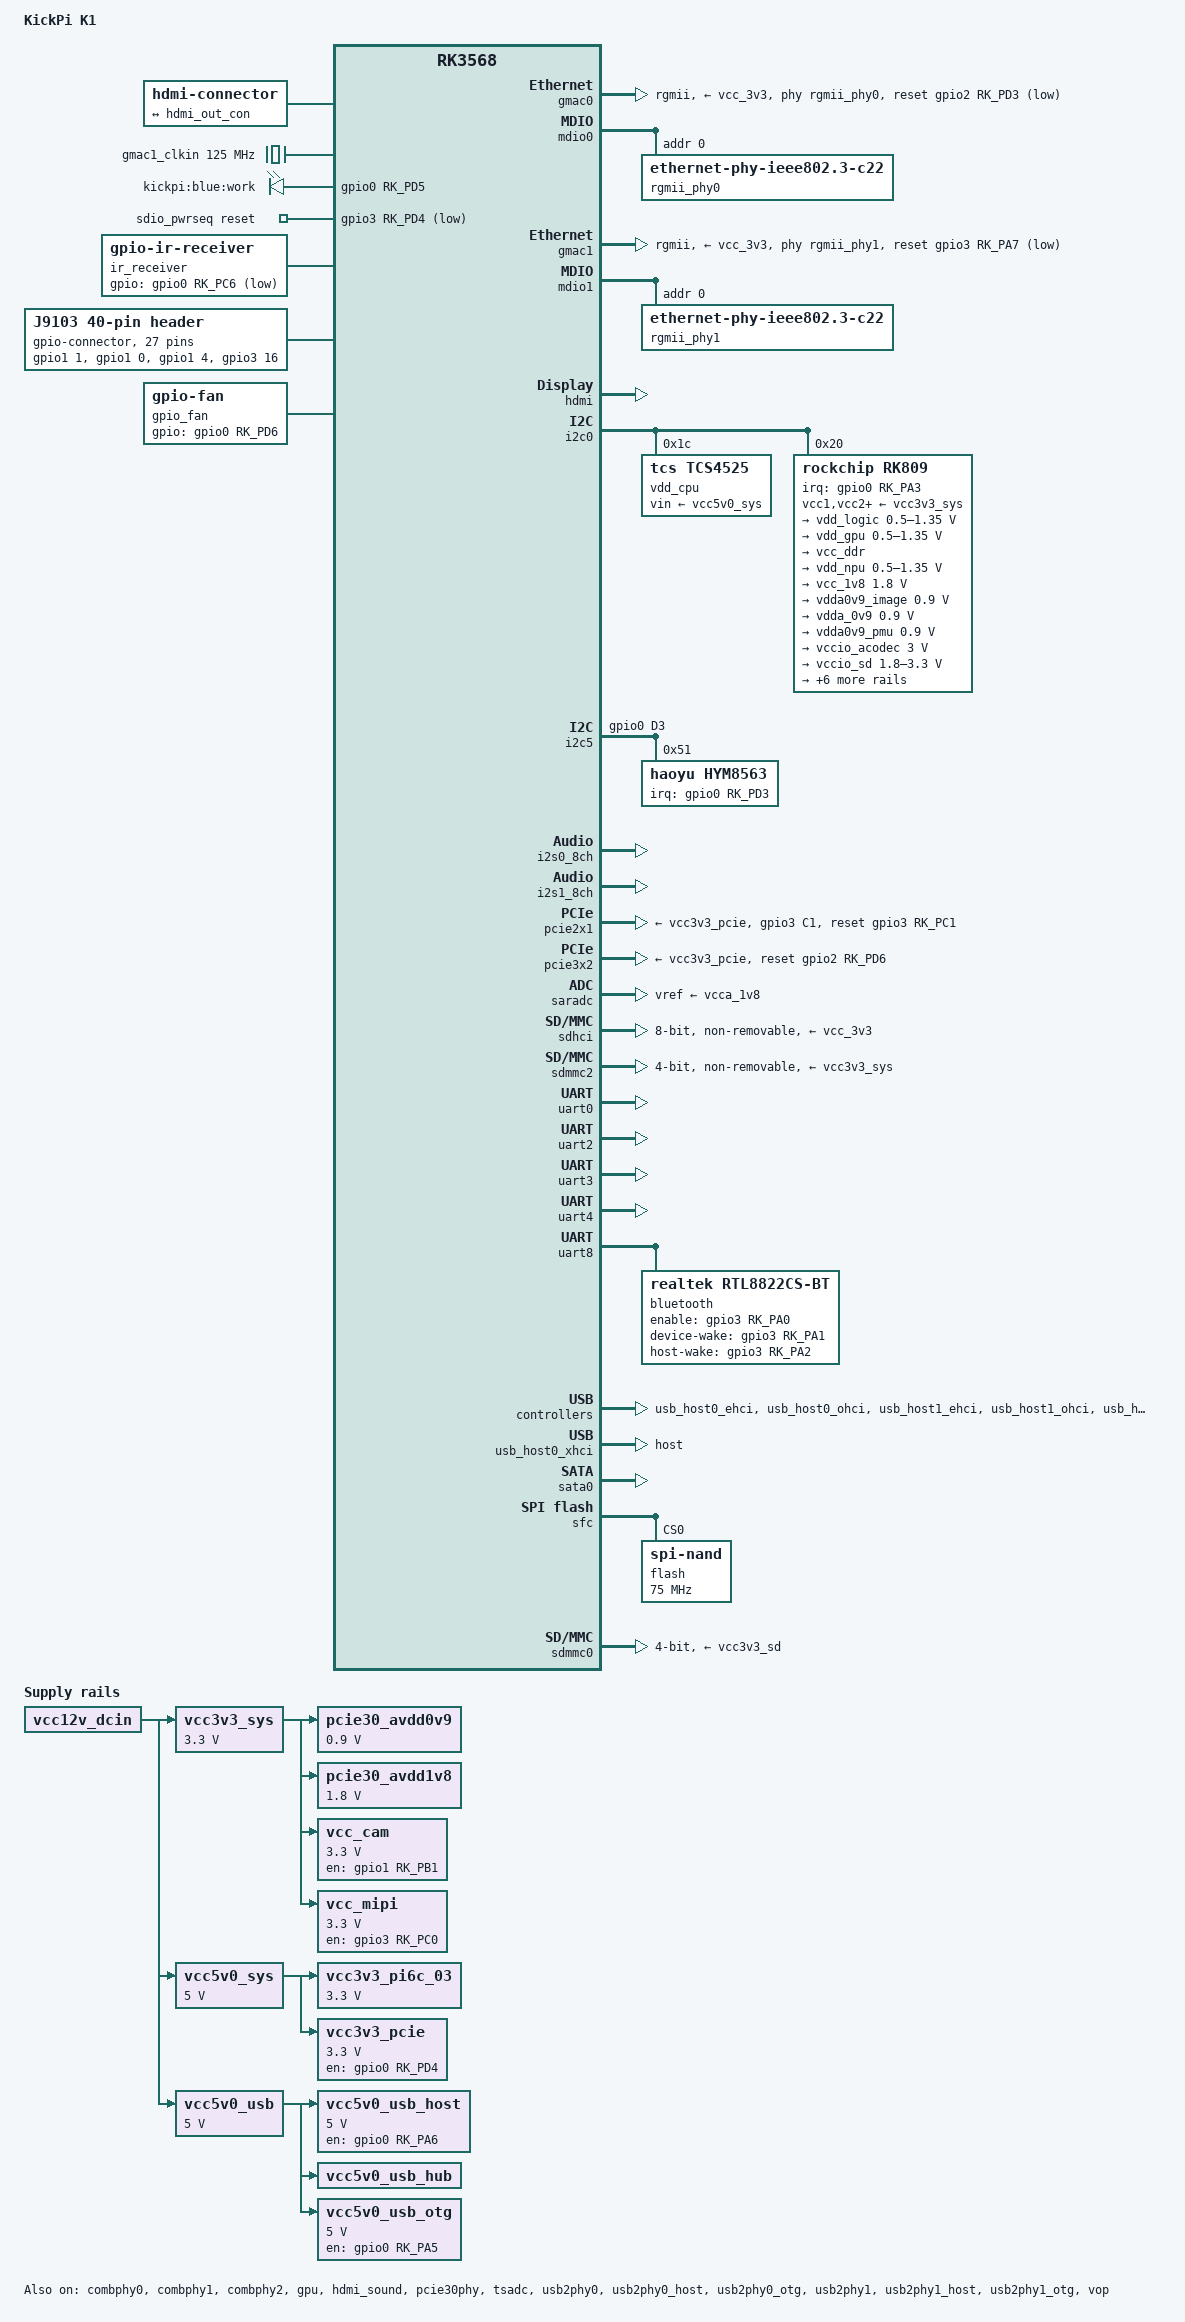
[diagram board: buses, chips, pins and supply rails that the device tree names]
// SPDX-License-Identifier: (GPL-2.0+ OR MIT)

/dts-v1/;
#include <dt-bindings/gpio/gpio.h>
#include <dt-bindings/leds/common.h>
#include <dt-bindings/pinctrl/rockchip.h>
#include <dt-bindings/soc/rockchip,vop2.h>
#include "rk3568.dtsi"

/ {
	model = "KickPi K1";
	compatible = "kickpi,k1", "rockchip,rk3568";

	aliases {
		ethernet0 = &gmac0;
		ethernet1 = &gmac1;
		mmc0 = &sdhci; //emmc
		mmc1 = &sdmmc0; //microsd
		mmc2 = &sdmmc2; //wifi sdio
		serial0 = &uart0;
		serial1 = &uart1;
		serial2 = &uart2;
		serial3 = &uart3;
		serial4 = &uart4;
		serial5 = &uart5;
		serial6 = &uart6;
		serial7 = &uart7;
		serial8 = &uart8;
		serial9 = &uart9;
	};

	chosen: chosen {
		stdout-path = "serial2:1500000n8";
	};

	hdmi-con {
		compatible = "hdmi-connector";
		type = "a";

		port {
			hdmi_con_in: endpoint {
				remote-endpoint = <&hdmi_out_con>;
			};
		};
	};

	gmac1_clkin: external-gmac1-clock {
		compatible = "fixed-clock";
		clock-frequency = <125000000>;
		clock-output-names = "gmac1_clkin";
		#clock-cells = <0>;
	};

	leds {
		compatible = "gpio-leds";
		work_led:
			work-led {
				label = "kickpi:blue:work";
				gpios = <&gpio0 RK_PD5 GPIO_ACTIVE_HIGH>;
				default-state = "off";
				linux,default-trigger = "heartbeat"; 
		};
	};

	rk809-sound {
		compatible = "simple-audio-card";
		simple-audio-card,format = "i2s";
		simple-audio-card,name = "Analog RK809";
		simple-audio-card,mclk-fs = <256>;

		simple-audio-card,cpu {
			sound-dai = <&i2s1_8ch>;
		};

		simple-audio-card,codec {
			sound-dai = <&rk809>;
		};
	};

	sdio_pwrseq: sdio-pwrseq {
		compatible = "mmc-pwrseq-simple";
		clocks = <&rk809 1>;
		clock-names = "ext_clock";
		pinctrl-names = "default";
		pinctrl-0 = <&wifi_enable>;
		post-power-on-delay-ms = <100>;
		power-off-delay-us = <5000000>;
		reset-gpios = <&gpio3 RK_PD4 GPIO_ACTIVE_LOW>;
	};

	vcc12v_dcin: regulator-vcc12v-dcin {
		compatible = "regulator-fixed";
		regulator-name = "vcc12v_dcin";
		regulator-always-on;
		regulator-boot-on;
	};

	pcie30_avdd0v9: regulator-pcie30-avdd0v9 {
		compatible = "regulator-fixed";
		regulator-name = "pcie30_avdd0v9";
		regulator-always-on;
		regulator-boot-on;
		regulator-min-microvolt = <900000>;
		regulator-max-microvolt = <900000>;
		vin-supply = <&vcc3v3_sys>;
	};

	pcie30_avdd1v8: regulator-pcie30-avdd1v8 {
		compatible = "regulator-fixed";
		regulator-name = "pcie30_avdd1v8";
		regulator-always-on;
		regulator-boot-on;
		regulator-min-microvolt = <1800000>;
		regulator-max-microvolt = <1800000>;
		vin-supply = <&vcc3v3_sys>;
	};

	/* pi6c pcie clock generator */
	vcc3v3_pi6c_03: regulator-vcc3v3-pi6c-03 {
		compatible = "regulator-fixed";
		regulator-name = "vcc3v3_pi6c_03";
		regulator-always-on;
		regulator-boot-on;
		regulator-min-microvolt = <3300000>;
		regulator-max-microvolt = <3300000>;
		vin-supply = <&vcc5v0_sys>;
	};

	vcc3v3_pcie: regulator-vcc3v3-pcie {
		compatible = "regulator-fixed";
		enable-active-high;
		gpios = <&gpio0 RK_PD4 GPIO_ACTIVE_HIGH>;
		pinctrl-names = "default";
		pinctrl-0 = <&pcie_enable_h>;
		regulator-name = "vcc3v3_pcie";
		regulator-min-microvolt = <3300000>;
		regulator-max-microvolt = <3300000>;
		vin-supply = <&vcc5v0_sys>;
	};

	vcc3v3_sys: regulator-vcc3v3-sys {
		compatible = "regulator-fixed";
		regulator-name = "vcc3v3_sys";
		regulator-always-on;
		regulator-boot-on;
		regulator-min-microvolt = <3300000>;
		regulator-max-microvolt = <3300000>;
		vin-supply = <&vcc12v_dcin>;
	};

	vcc5v0_sys: regulator-vcc5v0-sys {
		compatible = "regulator-fixed";
		regulator-name = "vcc5v0_sys";
		regulator-always-on;
		regulator-boot-on;
		regulator-min-microvolt = <5000000>;
		regulator-max-microvolt = <5000000>;
		vin-supply = <&vcc12v_dcin>;
	};

	vcc5v0_usb: regulator-vcc5v0-usb {
		compatible = "regulator-fixed";
		regulator-name = "vcc5v0_usb";
		regulator-always-on;
		regulator-boot-on;
		regulator-min-microvolt = <5000000>;
		regulator-max-microvolt = <5000000>;
		vin-supply = <&vcc12v_dcin>;
	};

	vcc5v0_usb_host: regulator-vcc5v0-usb-host {
		compatible = "regulator-fixed";
		enable-active-high;
		gpio = <&gpio0 RK_PA6 GPIO_ACTIVE_HIGH>;
		pinctrl-names = "default";
		pinctrl-0 = <&vcc5v0_usb_host_en>;
		regulator-name = "vcc5v0_usb_host";
		regulator-min-microvolt = <5000000>;
		regulator-max-microvolt = <5000000>;
		vin-supply = <&vcc5v0_usb>;
	};

	vcc5v0_usb_hub: regulator-vcc5v0-usb-hub {
		compatible = "regulator-fixed";
		// enable-active-high;
		// gpio = <&gpio0 RK_PD5 GPIO_ACTIVE_HIGH>;
		// pinctrl-names = "default";
		// pinctrl-0 = <&vcc5v0_usb_hub_en>;
		regulator-name = "vcc5v0_usb_hub";
		regulator-always-on;
		regulator-boot-on;
		vin-supply = <&vcc5v0_usb>;
	};

	vcc5v0_usb_otg: regulator-vcc5v0-usb-otg {
		compatible = "regulator-fixed";
		enable-active-high;
		gpio = <&gpio0 RK_PA5 GPIO_ACTIVE_HIGH>;
		pinctrl-names = "default";
		pinctrl-0 = <&vcc5v0_usb_otg_en>;
		regulator-name = "vcc5v0_usb_otg";
		regulator-min-microvolt = <5000000>;
		regulator-max-microvolt = <5000000>;
		vin-supply = <&vcc5v0_usb>;
	};

	vcc_cam: regulator-vcc-cam {
		compatible = "regulator-fixed";
		enable-active-high;
		gpio = <&gpio1 RK_PB1 GPIO_ACTIVE_HIGH>;
		pinctrl-names = "default";
		pinctrl-0 = <&vcc_cam_en>;
		regulator-name = "vcc_cam";
		regulator-min-microvolt = <3300000>;
		regulator-max-microvolt = <3300000>;
		vin-supply = <&vcc3v3_sys>;

		regulator-state-mem {
			regulator-off-in-suspend;
		};
	};

	vcc_mipi: regulator-vcc-mipi {
		compatible = "regulator-fixed";
		enable-active-high;
		gpio = <&gpio3 RK_PC0 GPIO_ACTIVE_HIGH>;
		pinctrl-names = "default";
		pinctrl-0 = <&vcc_mipi_en>;
		regulator-name = "vcc_mipi";
		regulator-min-microvolt = <3300000>;
		regulator-max-microvolt = <3300000>;
		vin-supply = <&vcc3v3_sys>;

		regulator-state-mem {
			regulator-off-in-suspend;
		};
	};

	ir_receiver: ir-receiver {
		compatible = "gpio-ir-receiver";
		gpios = <&gpio0 RK_PC6 GPIO_ACTIVE_LOW>;
		pinctrl-names = "default";
		pinctrl-0 = <&pwm7_ir>;
		// linux,autosuspend-delay-ms = <200>;
		status = "okay";
	};

	j9103: header-j9103 {
        compatible = "gpio-connector";
        label = "J9103 40-pin header";

        #gpio-cells = <2>;

        gpio-map = <
            /* pin 3  */ 3  &gpio1 1 0
            /* pin 5  */ 5  &gpio1 0 0
            /* pin 7  */ 7  &gpio1 4 0
            /* pin 8  */ 8  &gpio3 16 0
            /* pin 10 */ 10 &gpio3 15 0
            /* pin 11 */ 11 &gpio1 8 0
            /* pin 12 */ 12 &gpio0 18 0
            /* pin 13 */ 13 &gpio1 9 0
            /* pin 15 */ 15 &gpio1 10 0
            /* pin 16 */ 16 &gpio3 20 0
            /* pin 18 */ 18 &gpio3 21 0
            /* pin 19 */ 19 &gpio4 19 0
            /* pin 21 */ 21 &gpio4 21 0
            /* pin 22 */ 22 &gpio4 12 0
            /* pin 23 */ 23 &gpio4 18 0
            /* pin 24 */ 24 &gpio4 13 0
            /* pin 26 */ 26 &gpio0 16 0
            /* pin 27 */ 27 &gpio4 20 0
            /* pin 28 */ 28 &gpio0 17 0
            /* pin 29 */ 29 &gpio3 13 0
            /* pin 31 */ 31 &gpio3 9  0
            /* pin 32 */ 32 &gpio3 14 0
            /* pin 33 */ 33 &gpio3 10 0
            /* pin 35 */ 35 &gpio0 24 0   /* UART2 RX – debug */
            /* pin 36 */ 36 &gpio1 24 0
            /* pin 37 */ 37 &gpio0 25 0   /* UART2 TX – debug */
            /* pin 38 */ 38 &gpio1 28 0
        >;
    };

	gpio_fan: gpio-fan {
		compatible = "gpio-fan";
		gpios = <&gpio0 RK_PD6 GPIO_ACTIVE_HIGH>;
		gpio-fan,speed-map = <0    0>,
		                     <3000 1>;
		pinctrl-names = "default";
		pinctrl-0 = <&fan_en_h>;
		#cooling-cells = <2>;
	};

};

&combphy0 {
	status = "okay";
};

&combphy1 {
	status = "okay";
};

&combphy2 {
	status = "okay";
};

&cpu0 {
	cpu-supply = <&vdd_cpu>;
};

&cpu1 {
	cpu-supply = <&vdd_cpu>;
};

&cpu2 {
	cpu-supply = <&vdd_cpu>;
};

&cpu3 {
	cpu-supply = <&vdd_cpu>;
};

&gmac0 {
	phy-mode = "rgmii";
	clock_in_out = "output";
	local-mac-address = [00 00 00 00 00 00];
	snps,reset-gpio = <&gpio2 RK_PD3 GPIO_ACTIVE_LOW>;
	snps,reset-active-low;
	snps,reset-delays-us = <0 20000 100000>;

	assigned-clocks = <&cru SCLK_GMAC0_RX_TX>, <&cru SCLK_GMAC0>;
	assigned-clock-parents = <&cru SCLK_GMAC0_RGMII_SPEED>, <&cru CLK_MAC0_2TOP>;
	assigned-clock-rates = <0>, <125000000>;

	pinctrl-names = "default";
	pinctrl-0 = <&gmac0_miim
		     &gmac0_tx_bus2
		     &gmac0_rx_bus2
		     &gmac0_rgmii_clk
		     &gmac0_rgmii_bus>;

	tx_delay = <0x3c>;
	rx_delay = <0x2f>;
	phy-supply = <&vcc_3v3>;
	phy-handle = <&rgmii_phy0>;
	status = "okay";
};


&mdio0 {
	rgmii_phy0: phy@0 {
		compatible = "ethernet-phy-ieee802.3-c22";
		reg = <0x0>;
	};
};

&gmac1 {
	phy-mode = "rgmii";
	clock_in_out = "output";
	local-mac-address = [00 00 00 00 00 00];
	snps,reset-gpio = <&gpio3 RK_PA7 GPIO_ACTIVE_LOW>;
	snps,reset-active-low;
	snps,reset-delays-us = <0 20000 100000>;

	assigned-clocks = <&cru SCLK_GMAC1_RX_TX>, <&cru SCLK_GMAC1>;
	assigned-clock-parents = <&cru SCLK_GMAC1_RGMII_SPEED>, <&cru CLK_MAC1_2TOP>;
	assigned-clock-rates = <0>, <125000000>;

	pinctrl-names = "default";
	pinctrl-0 = <&gmac1m1_miim
		     &gmac1m1_tx_bus2
		     &gmac1m1_rx_bus2
		     &gmac1m1_rgmii_clk
		     &gmac1m1_rgmii_bus>;

	tx_delay = <0x4f>;
	rx_delay = <0x26>;
	phy-supply = <&vcc_3v3>;
	phy-handle = <&rgmii_phy1>;
	status = "okay";
};

&mdio1 {
	rgmii_phy1: phy@0 {
		compatible = "ethernet-phy-ieee802.3-c22";
		reg = <0x0>;
	};
};

&gpu {
	mali-supply = <&vdd_gpu>;
	status = "okay";
};

&hdmi {
	avdd-0v9-supply = <&vdda0v9_image>;
	avdd-1v8-supply = <&vcca1v8_image>;
	pinctrl-names = "default";
	pinctrl-0 = <&hdmitx_scl &hdmitx_sda &hdmitxm1_cec>;
	status = "okay";
};

&hdmi_in {
	hdmi_in_vp0: endpoint {
		remote-endpoint = <&vp0_out_hdmi>;
	};
};

&hdmi_out {
	hdmi_out_con: endpoint {
		remote-endpoint = <&hdmi_con_in>;
	};
};

&hdmi_sound {
	status = "okay";
};

&i2c0 {
	status = "okay";

	vdd_cpu: regulator@1c {
		compatible = "tcs,tcs4525";
		reg = <0x1c>;
		fcs,suspend-voltage-selector = <1>;
		regulator-name = "vdd_cpu";
		regulator-always-on;
		regulator-boot-on;
		regulator-min-microvolt = <800000>;
		regulator-max-microvolt = <1150000>;
		regulator-ramp-delay = <2300>;
		vin-supply = <&vcc5v0_sys>;

		regulator-state-mem {
			regulator-off-in-suspend;
		};
	};

	rk809: pmic@20 {
		compatible = "rockchip,rk809";
		reg = <0x20>;
		interrupt-parent = <&gpio0>;
		interrupts = <RK_PA3 IRQ_TYPE_LEVEL_LOW>;
		assigned-clocks = <&cru I2S1_MCLKOUT_TX>;
		assigned-clock-parents = <&cru CLK_I2S1_8CH_TX>;
		#clock-cells = <1>;
		clock-names = "mclk";
		clocks = <&cru I2S1_MCLKOUT_TX>;
		pinctrl-names = "default";
		pinctrl-0 = <&pmic_int>, <&i2s1m0_mclk>;
		system-power-controller;
		#sound-dai-cells = <0>;
		vcc1-supply = <&vcc3v3_sys>;
		vcc2-supply = <&vcc3v3_sys>;
		vcc3-supply = <&vcc3v3_sys>;
		vcc4-supply = <&vcc3v3_sys>;
		vcc5-supply = <&vcc3v3_sys>;
		vcc6-supply = <&vcc3v3_sys>;
		vcc7-supply = <&vcc3v3_sys>;
		vcc8-supply = <&vcc3v3_sys>;
		vcc9-supply = <&vcc3v3_sys>;
		wakeup-source;

		regulators {
			vdd_logic: DCDC_REG1 {
				regulator-name = "vdd_logic";
				regulator-always-on;
				regulator-boot-on;
				regulator-initial-mode = <0x2>;
				regulator-min-microvolt = <500000>;
				regulator-max-microvolt = <1350000>;
				regulator-ramp-delay = <6001>;

				regulator-state-mem {
					regulator-off-in-suspend;
				};
			};

			vdd_gpu: DCDC_REG2 {
				regulator-name = "vdd_gpu";
				regulator-always-on;
				regulator-initial-mode = <0x2>;
				regulator-min-microvolt = <500000>;
				regulator-max-microvolt = <1350000>;
				regulator-ramp-delay = <6001>;

				regulator-state-mem {
					regulator-off-in-suspend;
				};
			};

			vcc_ddr: DCDC_REG3 {
				regulator-name = "vcc_ddr";
				regulator-always-on;
				regulator-boot-on;
				regulator-initial-mode = <0x2>;

				regulator-state-mem {
					regulator-on-in-suspend;
				};
			};

			vdd_npu: DCDC_REG4 {
				regulator-name = "vdd_npu";
				regulator-initial-mode = <0x2>;
				regulator-min-microvolt = <500000>;
				regulator-max-microvolt = <1350000>;
				regulator-ramp-delay = <6001>;

				regulator-state-mem {
					regulator-off-in-suspend;
				};
			};

			vcc_1v8: DCDC_REG5 {
				regulator-name = "vcc_1v8";
				regulator-always-on;
				regulator-boot-on;
				regulator-min-microvolt = <1800000>;
				regulator-max-microvolt = <1800000>;

				regulator-state-mem {
					regulator-off-in-suspend;
				};
			};

			vdda0v9_image: LDO_REG1 {
				regulator-name = "vdda0v9_image";
				regulator-min-microvolt = <900000>;
				regulator-max-microvolt = <900000>;

				regulator-state-mem {
					regulator-off-in-suspend;
				};
			};

			vdda_0v9: LDO_REG2 {
				regulator-name = "vdda_0v9";
				regulator-always-on;
				regulator-boot-on;
				regulator-min-microvolt = <900000>;
				regulator-max-microvolt = <900000>;

				regulator-state-mem {
					regulator-off-in-suspend;
				};
			};

			vdda0v9_pmu: LDO_REG3 {
				regulator-name = "vdda0v9_pmu";
				regulator-always-on;
				regulator-boot-on;
				regulator-min-microvolt = <900000>;
				regulator-max-microvolt = <900000>;

				regulator-state-mem {
					regulator-on-in-suspend;
					regulator-suspend-microvolt = <900000>;
				};
			};

			vccio_acodec: LDO_REG4 {
				regulator-name = "vccio_acodec";
				regulator-always-on;
				regulator-min-microvolt = <3000000>;
				regulator-max-microvolt = <3000000>;

				regulator-state-mem {
					regulator-off-in-suspend;
				};
			};

			vccio_sd: LDO_REG5 {
				regulator-name = "vccio_sd";
				regulator-min-microvolt = <1800000>;
				regulator-max-microvolt = <3300000>;

				regulator-state-mem {
					regulator-off-in-suspend;
				};
			};

			vcc3v3_pmu: LDO_REG6 {
				regulator-name = "vcc3v3_pmu";
				regulator-always-on;
				regulator-boot-on;
				regulator-min-microvolt = <3300000>;
				regulator-max-microvolt = <3300000>;

				regulator-state-mem {
					regulator-on-in-suspend;
					regulator-suspend-microvolt = <3300000>;
				};
			};

			vcca_1v8: LDO_REG7 {
				regulator-name = "vcca_1v8";
				regulator-always-on;
				regulator-boot-on;
				regulator-min-microvolt = <1800000>;
				regulator-max-microvolt = <1800000>;

				regulator-state-mem {
					regulator-off-in-suspend;
				};
			};

			vcca1v8_pmu: LDO_REG8 {
				regulator-name = "vcca1v8_pmu";
				regulator-always-on;
				regulator-boot-on;
				regulator-min-microvolt = <1800000>;
				regulator-max-microvolt = <1800000>;

				regulator-state-mem {
					regulator-on-in-suspend;
					regulator-suspend-microvolt = <1800000>;
				};
			};

			vcca1v8_image: LDO_REG9 {
				regulator-name = "vcca1v8_image";
				regulator-min-microvolt = <1800000>;
				regulator-max-microvolt = <1800000>;

				regulator-state-mem {
					regulator-off-in-suspend;
				};
			};

			vcc_3v3: SWITCH_REG1 {
				regulator-name = "vcc_3v3";
				regulator-always-on;
				regulator-boot-on;

				regulator-state-mem {
					regulator-off-in-suspend;
				};
			};

			vcc3v3_sd: SWITCH_REG2 {
				regulator-name = "vcc3v3_sd";
				regulator-always-on;
				regulator-boot-on;				

				regulator-state-mem {
					regulator-off-in-suspend;
				};
			};
		};
	};
};

/* --touch--
&i2c1 {
	status = "disabled";
};
*/

&i2c3 {
	pinctrl-names = "default";
	pinctrl-0 = <&i2c3m1_xfer>;
	status = "disabled";
	// can be exposed to the 40 pin but changes it to i2c
};

&i2c5 {
	status = "okay";
	pinctrl-names = "default";
	/* Combines the I2C bus pins and your RTC interrupt pin */
	pinctrl-0 = <&i2c5m0_xfer &hym8563_int>; 

	hym8563: rtc@51 {
		compatible = "haoyu,hym8563";
		reg = <0x51>;
		interrupt-parent = <&gpio0>;
		interrupts = <RK_PD3 IRQ_TYPE_LEVEL_LOW>;
		#clock-cells = <0>;
		wakeup-source;
	};
};

&i2s0_8ch {
	status = "okay";
};

&i2s1_8ch {
	pinctrl-names = "default";
	pinctrl-0 = <&i2s1m0_sclktx &i2s1m0_lrcktx &i2s1m0_sdi0 &i2s1m0_sdo0>;
	rockchip,trcm-sync-tx-only;
	status = "okay";
};

&i2s2_2ch {
	rockchip,trcm-sync-tx-only;
	status = "disabled";
	// default pin conflicts with ethernet 0
};
 
&pcie2x1 {
	pinctrl-names = "default";
	pinctrl-0 = <&pcie_reset_h>;
	reset-gpios = <&gpio3 RK_PC1 GPIO_ACTIVE_HIGH>;
	vpcie3v3-supply = <&vcc3v3_pcie>;
	status = "okay";
};

&pcie30phy {
	phy-supply = <&vcc3v3_pi6c_03>;
	status = "okay";
};

&pcie3x2 {
	pinctrl-names = "default";
	pinctrl-0 = <&pcie30x2m1_pins>;
	reset-gpios = <&gpio2 RK_PD6 GPIO_ACTIVE_HIGH>;
	vpcie3v3-supply = <&vcc3v3_pcie>;
	status = "okay";
};

&cpu_thermal {
	trips {
		cpu_fan_tick: cpu-fan-tick {
			temperature = <60000>; 
			hysteresis = <5000>;  
			type = "active";
		};
	};

	cooling-maps {
		map_fan: map-fan {
			trip = <&cpu_fan_tick>;
			cooling-device = <&gpio_fan THERMAL_NO_LIMIT THERMAL_NO_LIMIT>;
		};
	};
};

&pinctrl {
	cam {
		vcc_cam_en: vcc_cam_en {
			rockchip,pins = <1 RK_PB1 RK_FUNC_GPIO &pcfg_pull_none>;
		};
	};

	display {
		vcc_mipi_en: vcc_mipi_en {
			rockchip,pins = <3 RK_PC0 RK_FUNC_GPIO &pcfg_pull_none>;
		};
	};

	ethernet {
		eth_phy_rst: eth-phy-rst {
			 rockchip,pins = <3 RK_PA7 RK_FUNC_GPIO &pcfg_pull_none>;
		};
	};


	hym8563 {
		hym8563_int: hym8563-int {
			rockchip,pins = <0 RK_PD3 RK_FUNC_GPIO &pcfg_pull_up>;
		};
	};

	leds {
		led_work_pin: led-work-pin {
			rockchip,pins = <0 RK_PD5 RK_FUNC_GPIO &pcfg_pull_none>;
		};
	};

	pcie {
		pcie_enable_h: pcie-enable-h {
			rockchip,pins = <0 RK_PD4 RK_FUNC_GPIO &pcfg_pull_none>;
		};

		pcie_reset_h: pcie-reset-h {
			rockchip,pins = <3 RK_PC1 RK_FUNC_GPIO &pcfg_pull_none>;
		};
	};

	pmic {
		pmic_int: pmic_int {
			rockchip,pins =
				<0 RK_PA3 RK_FUNC_GPIO &pcfg_pull_up>;
		};
	};

	usb {
		vcc5v0_usb_otg_en: vcc5v0-usb-otg-en {
			rockchip,pins = <0 RK_PA5 RK_FUNC_GPIO &pcfg_pull_none>;
		};

		vcc5v0_usb_host_en: vcc5v0-usb-host-en {
			rockchip,pins = <0 RK_PA6 RK_FUNC_GPIO &pcfg_pull_none>;
		};
	};

	bluetooth {
		uart8_rts_gpio: uart8-rts-gpio {
            rockchip,pins = <2 RK_PB1 RK_FUNC_GPIO &pcfg_pull_none>;
        };
        
        bt_enable_h: bt-enable-h {
            rockchip,pins = <3 RK_PA0 RK_FUNC_GPIO &pcfg_pull_none>;
        };
        
        bt_wake_h: bt-wake-h {
            rockchip,pins = <3 RK_PA1 RK_FUNC_GPIO &pcfg_pull_none>;
        };
        
        bt_host_wake_h: bt-host-wake-h {
            rockchip,pins = <3 RK_PA2 RK_FUNC_GPIO &pcfg_pull_down>;
        };
	};

	sdio-pwrseq {
		wifi_enable: wifi-enable {
			rockchip,pins = <3 RK_PD4 RK_FUNC_GPIO &pcfg_pull_none>;
		};
	};

	ir {
		pwm7_ir: pwm7-ir {
			rockchip,pins = <0 RK_PC6 RK_FUNC_GPIO &pcfg_pull_none>;
		};
	};

	fan {
        fan_en_h: fan-en-h {
            rockchip,pins = <0 RK_PD6 RK_FUNC_GPIO &pcfg_pull_none>;
        };
    };

};

&pmu_io_domains {
	pmuio1-supply = <&vcc3v3_pmu>;
	pmuio2-supply = <&vcc3v3_pmu>;
	vccio1-supply = <&vccio_acodec>;
	vccio2-supply = <&vcc_1v8>;
	vccio3-supply = <&vccio_sd>;
	vccio4-supply = <&vcc_1v8>;
	vccio5-supply = <&vcc_3v3>;
	vccio6-supply = <&vcc_1v8>;
	vccio7-supply = <&vcc_3v3>;
	status = "okay";
};

&saradc {
	vref-supply = <&vcca_1v8>;
	status = "okay";
};

&sdhci {
	bus-width = <8>;
	max-frequency = <200000000>;
	non-removable;
	pinctrl-names = "default";
	pinctrl-0 = <&emmc_bus8 &emmc_clk &emmc_cmd &emmc_datastrobe>;
	vmmc-supply = <&vcc_3v3>;
	vqmmc-supply = <&vcc_1v8>;
	status = "okay";
};

&sdmmc2 {
	bus-width = <4>;
	disable-wp;
	cap-sd-highspeed;
	cap-sdio-irq;
	keep-power-in-suspend;
	mmc-pwrseq = <&sdio_pwrseq>;
	non-removable;
	pinctrl-names = "default";
	pinctrl-0 = <&sdmmc2m0_bus4 &sdmmc2m0_cmd &sdmmc2m0_clk>;
	sd-uhs-sdr12;
	sd-uhs-sdr25;
	sd-uhs-sdr50;
	sd-uhs-sdr104;
	vmmc-supply = <&vcc3v3_sys>;
	vqmmc-supply = <&vcc_1v8>;
	status = "okay";
};

&tsadc {
	rockchip,hw-tshut-mode = <1>;
	rockchip,hw-tshut-polarity = <0>;
	status = "okay";
};

&uart0 {
	status = "okay";
};

&uart1 {
	status = "disabled";
};

&uart2 {
	status = "okay";
};

&uart3 {
	status = "okay";
};

&uart4 {
    status = "okay";
};

&uart5 {
	status = "disabled";
};

&uart6 {
	status = "disabled";
};

&uart7 {
	status = "disabled"; //confict with bt and eth0
};

&uart8 {
	status = "okay";
	pinctrl-names = "default";
	pinctrl-0 = <&uart8m0_xfer &uart8m0_ctsn>; // rts conflicts w eth0
	// uart-has-rtscts; //enabled by def
	dma-names = "tx", "rx";

	bluetooth {
        compatible = "realtek,rtl8822cs-bt";
        clocks = <&rk809 1>;
        clock-names = "lpo";
        enable-gpios = <&gpio3 RK_PA0 GPIO_ACTIVE_HIGH>;
        device-wake-gpios = <&gpio3 RK_PA1 GPIO_ACTIVE_HIGH>;
        host-wake-gpios = <&gpio3 RK_PA2 GPIO_ACTIVE_HIGH>;
		max-speed = <1500000>; //prvent out of order messages
        pinctrl-names = "default";
        pinctrl-0 = <&bt_enable_h &bt_wake_h &bt_host_wake_h>;
    };
};

&uart9 {
	status = "disabled";
};

&usb_host0_ehci {
	status = "okay";
};

&usb_host0_ohci {
	status = "okay";
};

&usb_host0_xhci {
	extcon = <&usb2phy0>;
	dr_mode = "host";
	status = "okay";
};

&usb_host1_ehci {
	status = "okay";
};

&usb_host1_ohci {
	status = "okay";
};

&usb_host1_xhci {
	status = "okay";
};

&usb2phy0 {
	status = "okay";
};

&usb2phy0_host {
	phy-supply = <&vcc5v0_usb_host>;
	status = "okay";
};

&usb2phy0_otg {
	phy-supply = <&vcc5v0_usb_otg>;
	status = "okay";
};

&usb2phy1 {
	status = "okay";
};

&usb2phy1_host {
	phy-supply = <&vcc5v0_usb_host>;
	status = "okay";
};

&usb2phy1_otg {
	phy-supply = <&vcc5v0_usb_host>;
	status = "okay";
};

&vop {
	assigned-clocks = <&cru DCLK_VOP0>, <&cru DCLK_VOP1>;
	assigned-clock-parents = <&pmucru PLL_HPLL>, <&cru PLL_VPLL>;
	status = "okay";
};

&vop_mmu {
	status = "okay";
};

&vp0 {
	vp0_out_hdmi: endpoint@ROCKCHIP_VOP2_EP_HDMI0 {
		reg = <ROCKCHIP_VOP2_EP_HDMI0>;
		remote-endpoint = <&hdmi_in_vp0>;
	};
};

&sata0 {
    status = "okay";
};

&sfc {
    status = "okay";
    #address-cells = <1>;
    #size-cells = <0>;
    flash@0 {
        compatible = "spi-nand";
        reg = <0>;
        spi-max-frequency = <75000000>;
        spi-rx-bus-width = <4>;
        spi-tx-bus-width = <1>;
    };
};


&sdmmc0 {
    max-frequency = <150000000>;
    no-sdio;
    no-mmc;
    bus-width = <4>;
    cap-mmc-highspeed;
    cap-sd-highspeed;
    disable-wp;
    sd-uhs-sdr104;
    vmmc-supply = <&vcc3v3_sd>;
    vqmmc-supply = <&vccio_sd>;
    pinctrl-names = "default";
    pinctrl-0 = <&sdmmc0_bus4 &sdmmc0_clk &sdmmc0_cmd &sdmmc0_det>;
    status = "okay";
    // sd card
};

&sdmmc1 {
	status = "disabled";
	//not used on kickpi-k1
};

&sdmmc2 {
    max-frequency = <150000000>;
    no-sd;
    no-mmc;
    bus-width = <4>;
    disable-wp;
    cap-sd-highspeed;
    cap-sdio-irq;
    keep-power-in-suspend;
    mmc-pwrseq = <&sdio_pwrseq>;
    non-removable;
    pinctrl-names = "default";
    pinctrl-0 = <&sdmmc2m0_bus4 &sdmmc2m0_cmd &sdmmc2m0_clk>;
    sd-uhs-sdr104;
    status = "okay";
    // wifi
};

&gpio0 {
    gpio-line-names =
        "", "", "", "", "", "", "", "",        /* 0–7  */
        "", "", "", "", "", "", "", "",        /* 8–15 */
        "J9103_PIN26",   /* 16 */
        "J9103_PIN28",   /* 17 */
        "J9103_PIN12",   /* 18 */
        "", "", "", "", "", "", "", "",        /* 19–23 */
        "J9103_PIN35",   /* 24 UART2_RX */
        "J9103_PIN37",   /* 25 UART2_TX */
        "", "", "", "", "", "";                /* 26–31 */
};
&gpio1 {
    gpio-line-names =
        "", "", "", "", "", "", "", "",        /* 0–7  */
        "J9103_PIN11",   /* 8  */
        "J9103_PIN13",   /* 9  */
        "J9103_PIN15",   /* 10 */
        "", "", "", "", "", "", "", "",        /* 11–23 */
        "J9103_PIN36",   /* 24 */
        "", "", "", "", "", "";                /* 25–31 */
};
&gpio2 {
    gpio-line-names =
        "", "", "", "", "", "", "", "",        /* 0–7  */
        "", "", "", "", "", "", "", "",        /* 8–15 */
        "", "", "", "", "", "", "", "",        /* 16–23 */
        "", "", "", "", "", "", "", "";        /* 24–31 */
};
&gpio3 {
    gpio-line-names =
        "", "", "", "", "", "", "", "",        /* 0–7  */
        "", "", "", "",                        /* 8–11 */
        "J9103_PIN29",   /* 12 */
        "",              /* 13 (unused) */
        "J9103_PIN32",   /* 14 */
        "J9103_PIN10",   /* 15 */
        "J9103_PIN8",    /* 16 */
        "",              /* 17 */
        "",              /* 18 */
        "",              /* 19 */
        "J9103_PIN16",   /* 20 */
        "J9103_PIN18",   /* 21 */
        "", "", "", "", "", "", "", "";        /* 22–31 */
};
&gpio4 {
    gpio-line-names =
        "", "", "", "", "", "", "", "",        /* 0–7  */
        "", "", "", "",                        /* 8–11 */
        "J9103_PIN22",   /* 12 */
        "J9103_PIN24",   /* 13 */
        "", "", "", "",  /* 14–17 */
        "J9103_PIN23",   /* 18 */
        "J9103_PIN19",   /* 19 */
        "J9103_PIN27",   /* 20 */
        "J9103_PIN21",   /* 21 */
        "", "", "", "", "", "", "", "";        /* 22–31 */
};

&i2c4 {
	pinctrl-names = "default";
	pinctrl-0 = <&i2c4m1_xfer>;
	status = "disabled";
};

